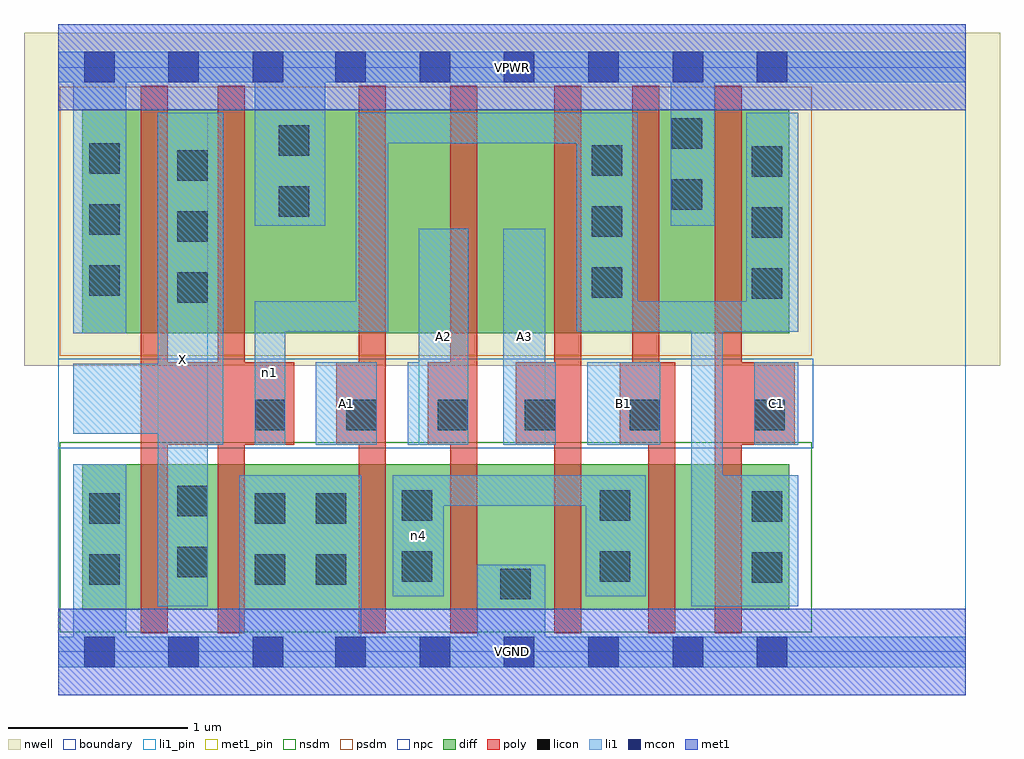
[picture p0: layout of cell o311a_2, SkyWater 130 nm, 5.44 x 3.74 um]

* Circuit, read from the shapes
.subckt o311a_2 A1 A2 A3 B1 C1 VGND VPWR X n1 n4
XM1 X n1 VGND VSUBS sky130_fd_pr__nfet_01v8 w=0.81 l=0.15 m=2
XM2 n4 A1 VGND VSUBS sky130_fd_pr__nfet_01v8 w=0.81 l=0.15
XM3 VGND A2 n4 VSUBS sky130_fd_pr__nfet_01v8 w=0.81 l=0.15
XM4 n4 A3 VGND VSUBS sky130_fd_pr__nfet_01v8 w=0.81 l=0.15
XM5 n2 B1 n4 VSUBS sky130_fd_pr__nfet_01v8 w=0.81 l=0.15
XM6 n1 C1 n2 VSUBS sky130_fd_pr__nfet_01v8 w=0.81 l=0.15
XM7 X n1 VPWR n3 sky130_fd_pr__pfet_01v8 w=1.25 l=0.15 m=2
XM8 n5 A1 VPWR n3 sky130_fd_pr__pfet_01v8 w=1.25 l=0.15
XM9 n6 A2 n5 n3 sky130_fd_pr__pfet_01v8 w=1.25 l=0.15
XM10 n1 A3 n6 n3 sky130_fd_pr__pfet_01v8 w=1.25 l=0.15
XM11 VPWR B1 n1 n3 sky130_fd_pr__pfet_01v8 w=1.25 l=0.15
XM12 n1 C1 VPWR n3 sky130_fd_pr__pfet_01v8 w=1.25 l=0.15
.ends

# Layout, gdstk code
import gdstk
lib = gdstk.Library(unit=1e-6, precision=1e-09)
def R(c, l, rs):  # rectangles x0, y0, x1, y1
    for r in rs: c.add(gdstk.rectangle(r[:2], r[2:], *l))
def A(c, l, x, y, w, h, nx, ny, dx, dy):  # array of equal rectangles
    R(c, l, [(x+i*dx, y+j*dy, x+i*dx+w, y+j*dy+h) for i in range(nx) for j in range(ny)])
nwell = (64, 20)
diff = (65, 20)
poly = (66, 20)
licon = (66, 44)
li1_pin = (67, 16)
li1 = (67, 20)
mcon = (67, 44)
met1_pin = (68, 16)
met1 = (68, 20)
nsdm = (93, 44)
psdm = (94, 20)
npc = (95, 20)
boundary = (235, 4)

o311a_2 = lib.new_cell('o311a_2')
R(o311a_2, nwell, [(-0.19,1.595,5.25,3.45), (0,1.595,5.06,3.45)])
R(o311a_2, diff, [(0.135,0.235,4.075,1.045), (0.135,1.775,4.075,3.025)])
R(o311a_2, poly, [(0.46,0.105,0.61,3.155), (0.89,0.105,1.04,3.155), (1.675,0.105,1.825,3.155), (2.185,0.105,2.335,3.155), (2.765,0.105,2.915,3.155), (3.29,0.105,3.44,1.615), (3.66,0.105,3.81,3.155), (0.46,1.155,1.315,1.615), (1.55,1.155,1.825,1.615), (2.06,1.155,2.335,1.615), (2.55,1.155,2.915,1.615), (3.13,1.155,3.44,1.615), (3.2,1.155,3.35,3.155), (3.66,1.155,4.105,1.615)])
A(o311a_2, licon, 1.095, 1.235, 0.17, 0.17, 3, 1, 0.51, 0)
A(o311a_2, licon, 0.665, 1.945, 0.17, 0.17, 1, 3, 0, 0.34)
A(o311a_2, licon, 3.865, 1.97, 0.17, 0.17, 1, 3, 0, 0.34)
A(o311a_2, licon, 2.975, 1.975, 0.17, 0.17, 1, 3, 0, 0.34)
A(o311a_2, licon, 0.175, 1.985, 0.17, 0.17, 1, 3, 0, 0.34)
R(o311a_2, licon, [(2.465,0.295,2.635,0.465), (0.175,0.375,0.345,0.545), (1.095,0.375,1.265,0.545), (1.435,0.375,1.605,0.545), (3.865,0.385,4.035,0.555), (1.915,0.39,2.085,0.56), (3.02,0.39,3.19,0.56), (0.665,0.415,0.835,0.585), (0.175,0.715,0.345,0.885), (1.095,0.715,1.265,0.885), (1.435,0.715,1.605,0.885), (3.865,0.725,4.035,0.895), (1.915,0.73,2.085,0.9), (3.02,0.73,3.19,0.9), (0.665,0.755,0.835,0.925), (2.6,1.235,2.77,1.405), (3.185,1.235,3.355,1.405), (3.88,1.235,4.05,1.405), (1.23,2.425,1.4,2.595), (3.42,2.465,3.59,2.635), (1.23,2.765,1.4,2.935), (3.42,2.805,3.59,2.975)])
R(o311a_2, li1_pin, [(0.555,0.255,0.835,3.005), (1.435,1.155,1.775,1.615), (2.01,1.155,2.285,2.36), (2.48,1.155,2.715,2.36), (2.95,1.155,3.355,1.615), (3.88,1.155,4.125,1.615)])
R(o311a_2, li1, [(0,-0.085,5.06,0.085), (0.085,-0.085,0.38,1.045), (1.01,-0.085,1.69,0.985), (2.335,-0.085,2.715,0.485), (0.555,0.255,0.835,3.005), (3.53,0.255,4.125,0.985), (3.53,0.255,3.705,1.955), (1.865,0.31,2.15,0.985), (2.94,0.31,3.275,0.985), (1.865,0.815,3.275,0.985), (0.555,1.155,0.92,3.005), (1.095,1.155,1.265,1.955), (1.435,1.155,1.775,1.615), (1.95,1.155,2.285,1.615), (2.01,1.155,2.285,2.36), (2.48,1.155,2.715,2.36), (2.48,1.155,2.775,1.615), (2.95,1.155,3.355,1.615), (3.88,1.155,4.125,1.615), (0.085,1.215,0.92,1.605), (0.085,1.775,0.38,3.345), (1.095,1.785,1.84,1.955), (1.66,1.785,1.84,3.005), (2.89,1.785,3.23,3.005), (2.89,1.785,4.125,1.955), (3.835,1.785,4.125,3.005), (1.095,2.375,1.49,3.345), (3.415,2.375,3.66,3.345), (1.66,2.835,3.23,3.005), (0,3.175,5.06,3.345)])
A(o311a_2, mcon, 0.145, -0.085, 0.17, 0.17, 3, 2, 0.47, 3.26)
A(o311a_2, mcon, 1.545, -0.085, 0.17, 0.17, 6, 2, 0.47, 3.26)
R(o311a_2, met1_pin, [(0,-0.24,5.06,0.24), (0,3.02,5.06,3.5)])
R(o311a_2, met1, [(0,-0.24,5.06,0.24), (0,3.02,5.06,3.5)])
R(o311a_2, nsdm, [(0.01,0.11,4.2,1.17)])
R(o311a_2, psdm, [(0.01,1.65,4.2,3.15)])
R(o311a_2, npc, [(0,1.135,4.21,1.635)])
R(o311a_2, boundary, [(0,0,5.06,3.26)])
o311a_2.add(gdstk.Label('A1', (1.605,1.385), layer=67, texttype=5))
o311a_2.add(gdstk.Label('A2', (2.147,1.757), layer=67, texttype=5))
o311a_2.add(gdstk.Label('A3', (2.597,1.757), layer=67, texttype=5))
o311a_2.add(gdstk.Label('B1', (3.152,1.385), layer=67, texttype=5))
o311a_2.add(gdstk.Label('C1', (4.002,1.385), layer=67, texttype=5))
o311a_2.add(gdstk.Label('X', (0.695,1.63), layer=67, texttype=5))
o311a_2.add(gdstk.Label('n4', (2.007,0.647), layer=67, texttype=5))
o311a_2.add(gdstk.Label('n1', (1.18,1.555), layer=67, texttype=5))
o311a_2.add(gdstk.Label('VPWR', (2.53,3.26), layer=68, texttype=5))
o311a_2.add(gdstk.Label('VGND', (2.53,0), layer=68, texttype=5))
o311a_2.add(gdstk.Label('A1', (1.605,1.385), layer=67, texttype=16))
o311a_2.add(gdstk.Label('A2', (2.147,1.757), layer=67, texttype=16))
o311a_2.add(gdstk.Label('A3', (2.597,1.757), layer=67, texttype=16))
o311a_2.add(gdstk.Label('B1', (3.152,1.385), layer=67, texttype=16))
o311a_2.add(gdstk.Label('C1', (4.002,1.385), layer=67, texttype=16))
o311a_2.add(gdstk.Label('X', (0.695,1.63), layer=67, texttype=16))
o311a_2.add(gdstk.Label('VPWR', (2.53,3.26), layer=68, texttype=16))
o311a_2.add(gdstk.Label('VGND', (2.53,0), layer=68, texttype=16))

lib.write_gds('o311a_2.gds')
